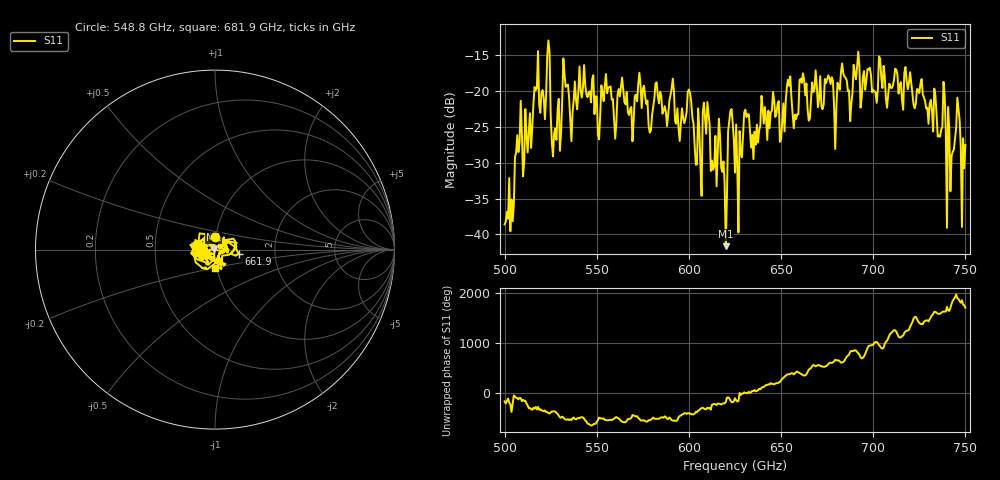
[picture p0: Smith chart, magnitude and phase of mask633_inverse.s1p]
!Created with skrf (http://scikit-rf.org).
# GHz S MA R 50.0
!freq magS11 angS11
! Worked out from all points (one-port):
!   401 points, 500 GHz to 750 GHz, reference 50 ohm
!   lowest |S11| = -41.6 dB at 620 GHz (marker M1), VSWR 1.02, Z = 49.2 + j0.209 ohm
!   |S11| at or under -10 dB: start of sweep to end of sweep
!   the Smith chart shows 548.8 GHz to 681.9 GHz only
!   S11 on the Smith chart (normalised r, x): 548.8 GHz: 0.99, +0.14; 661.9 GHz: 1.30, -0.06; 681.9 GHz: 0.98, -0.20
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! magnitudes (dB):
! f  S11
! 500 GHz  -38.6
! 516.9 GHz  -19.9
! 523.8 GHz  -12.9
! 526.9 GHz  -25.9
! 531.2 GHz  -21.3
! 548.8 GHz  -23.2
! 559.4 GHz  -23.9
! 562.5 GHz  -20.7
! 579.4 GHz  -25.5
! 590.6 GHz  -19.6
! 593.8 GHz  -22.4
! 600.6 GHz  -20.2
! 605.6 GHz  -25.3
! 609.4 GHz  -25.9
! 620 GHz  -41.6
! 622.5 GHz  -22.8
! 625 GHz  -31.4
! 656.2 GHz  -23.1
! 661.9 GHz  -17.5
! 680 GHz  -22.3
! 681.9 GHz  -19.8
! 687.5 GHz  -24.2
! 690.6 GHz  -18.3
! 718.8 GHz  -19.7
! 738.1 GHz  -18.7
! 741.2 GHz  -25.4
! 745.6 GHz  -20.9
! 750 GHz  -27.5
